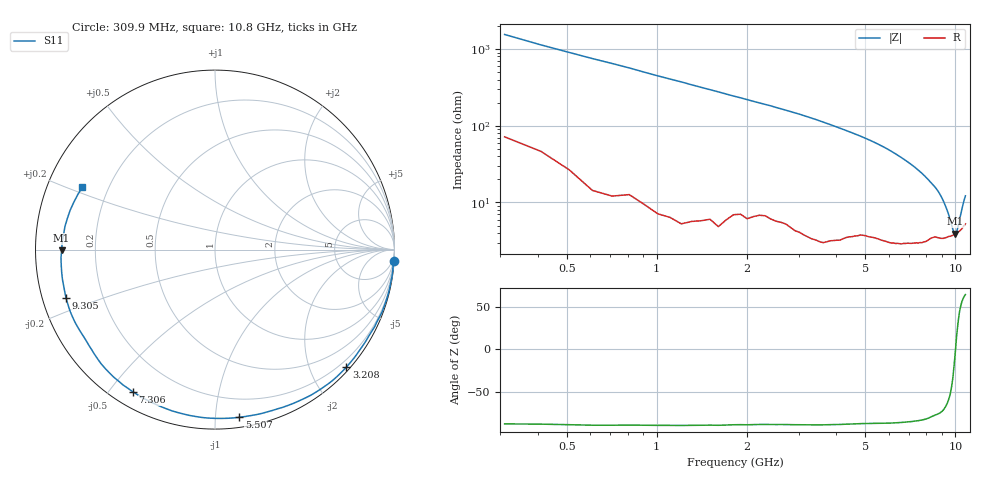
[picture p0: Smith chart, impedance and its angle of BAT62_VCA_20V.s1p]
! Infineon Technologies  Discrete & RF Semiconductors
! BAT62
! VCA = 20 V
! One-Port S-Parameters
# Hz  S  MA  R  50
!f  S11
!Hz  Mag  Ang
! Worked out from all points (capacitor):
!   106 points, 309.9 MHz to 10.8 GHz, reference 50 ohm
!   read as one part to ground: C = 342 fF near 309.9 MHz
!   lowest |Z| = 3.93 ohm at 10.01 GHz (marker M1)
!   series resonance near 10.01 GHz, so ESL is about 740 pH
!   S11 on the Smith chart (normalised r, x): 309.9 MHz: 1, -31; 3.208 GHz: 0.07, -2.61; 5.507 GHz: 0.07, -1.15; 7.306 GHz: 0.06, -0.58; 9.305 GHz: 0.07, -0.16; 10.8 GHz: 0.11, +0.22
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3.0985e8  0.997 -3.7
1.0095e9  0.9965 -12.8
1.70915e9  0.9915 -21.8
2.4088e9  0.983 -30.7
3.0085e9  0.982 -38.9
3.2084e9  0.9819 -41.9
3.70815e9  0.9784 -49.8
4.30785e9  0.9658 -59.8
5.0075e9  0.95 -72.2
5.50725e9  0.944 -81.7
5.6072e9  0.9433 -83.8
6.007e9  0.9394 -92.1
6.30685e9  0.935 -98.5
6.6067e9  0.9298 -105.1
6.90655e9  0.9224 -111.5
7.30635e9  0.9149 -120.0
7.8061e9  0.9043 -130.6
8.2059e9  0.8894 -139.0
8.8056e9  0.8784 -150.5
9.10545e9  0.8771 -157.2
9.30535e9  0.8726 -161.9
9.50525e9  0.867 -166.6
9.8051e9  0.8611 -174.2
1.0005e10  0.8545 -179.7
1.030485e10  0.8458 171.1
1.04048e10  0.8406 168.0
1.050475e10  0.8364 164.8
1.08046e10  0.8176 154.9
